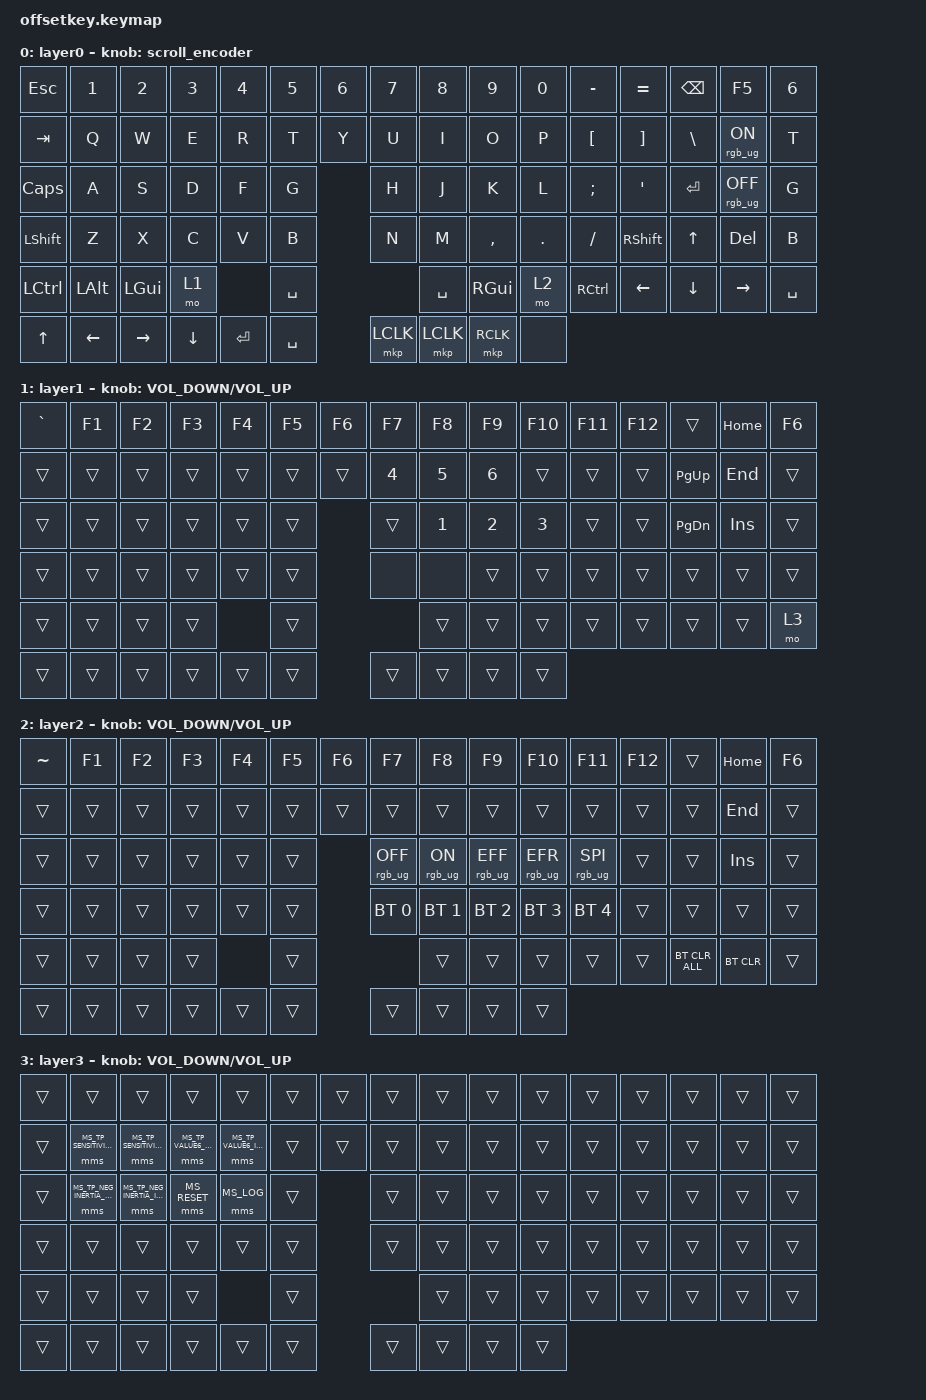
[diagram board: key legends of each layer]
#define BASE 0
#define LOWER 1
#define MOUSE_KEYS 2
#define MOUSE_TP 3
#define MOUSE_TP_SET 4

#include <zephyr/dt-bindings/input/input-event-codes.h>
#include <behaviors/toggle_io.dtsi>
#include <behaviors/on_io.dtsi>
#include <behaviors/off_io.dtsi>
#include <input/processors.dtsi>
#include <behaviors.dtsi>
#include <dt-bindings/zmk/bt.h>
#include <dt-bindings/zmk/keys.h>
#include <dt-bindings/zmk/pointing.h>
#include <dt-bindings/zmk/rgb.h>
#include <dt-bindings/zmk/mouse.h>
#include <dt-bindings/zmk/mouse_settings.h>
#include <behaviors/mouse_keys.dtsi>
#include <behaviors/mouse_setting.dtsi>

#define U_MSS_TP_S_I  &mms MS_TP_SENSITIVITY_INCR
#define U_MSS_TP_S_D  &mms MS_TP_SENSITIVITY_DECR
#define U_MSS_TP_V6_I &mms MS_TP_VALUE6_INCR
#define U_MSS_TP_V6_D &mms MS_TP_VALUE6_DECR
#define U_MSS_TP_NI_I &mms MS_TP_NEG_INERTIA_INCR
#define U_MSS_TP_NI_D &mms MS_TP_NEG_INERTIA_DECR
#define U_MSS_RESET   &mms MS_RESET
#define U_MSS_LOG     &mms MS_LOG

#define ZMK_POINTING_DEFAULT_MOVE_VAL 1200  // 600
#define ZMK_POINTING_DEFAULT_SCRL_VAL 30

&mmv_input_listener { input-processors = <&zip_xy_scaler 2 1>; };

&msc_input_listener { input-processors = <&zip_scroll_scaler 4 1>; };

&msc {
    acceleration-exponent = <0>;      // 0
    time-to-max-speed-ms = <100>;       // 300
    delay-ms = <0>;                   // 0
};

&mmv {
    time-to-max-speed-ms = <120>;
    acceleration-exponent = <0>;
    trigger-period-ms = <16>;
};

/ {
    scroll_encoder: scroll_encoder {
        compatible = "zmk,behavior-sensor-rotate";
        #sensor-binding-cells = <0>;
        bindings = <&msc SCRL_DOWN>, <&msc SCRL_UP>;

        tap-ms = <100>;
    };

    behaviors {
        ltq: ltq {
            compatible = "zmk,behavior-hold-tap";
            label = "LTQ";
            bindings = <&mo>, <&kp>;

            #binding-cells = <2>;
            tapping-term-ms = <200>;
            quick-tap-ms = <180>;
        };
    };

    combos {
        compatible = "zmk,combos";

        flash {
            bindings = <&bootloader>;
            key-positions = <0 11>;
        };
    };

    keymap {
        compatible = "zmk,keymap";

        BASE {
            bindings = <
&kp ESC       &kp N1          &kp N2           &kp N3          &kp N4     &kp N5     &kp N6      &kp N7     &kp N8     &kp N9         &kp N0   &kp MINUS  &kp EQUAL  &kp BSPC      &kp F5                           &kp NUMBER_6
&kp TAB       &kp Q           &kp W            &kp E           &kp R      &kp T                  &kp Y      &kp U      &kp I          &kp O    &kp P      &kp LBKT   &kp RBKT      &kp BSLH         &rgb_ug RGB_ON  &kp T
&kp CAPS      &kp A           &kp S            &kp D           &kp F      &kp G                  &kp H      &kp J      &kp K          &kp L    &kp SEMI   &kp APOS   &kp ENTER     &rgb_ug RGB_OFF                  &kp G
&kp LSHFT     &kp Z           &kp X            &kp C           &kp V      &kp B                  &kp N      &kp M      &kp COMMA      &kp DOT  &kp FSLH   &kp RSHFT  &kp UP_ARROW  &kp DELETE                       &kp B
&kp LCTRL     &kp LEFT_ALT    &kp LEFT_GUI     &mo 1                      &kp SPACE                         &kp SPACE  &kp RIGHT_GUI  &mo 2    &kp RCTRL  &kp LEFT   &kp DOWN      &kp RIGHT                        &kp SPACE
&kp UP_ARROW  &kp LEFT_ARROW  &kp RIGHT_ARROW  &kp DOWN_ARROW  &kp ENTER  &kp SPACE              &mkp LCLK  &mkp LCLK  &mkp RCLK      &none
            >;

            label = "layer0";
            sensor-bindings = <&scroll_encoder>;
        };

        layer_1 {
            bindings = <
&kp GRAVE  &kp F1  &kp F2  &kp F3  &kp F4  &kp F5  &kp F6      &kp F7  &kp F8        &kp F9        &kp F10       &kp F11  &kp F12  &trans     &kp HOME             &kp F6
&trans     &trans  &trans  &trans  &trans  &trans              &trans  &kp NUMBER_4  &kp NUMBER_5  &kp NUMBER_6  &trans   &trans   &trans     &kp PG_UP   &kp END  &trans
&trans     &trans  &trans  &trans  &trans  &trans              &trans  &kp NUMBER_1  &kp NUMBER_2  &kp NUMBER_3  &trans   &trans   &kp PG_DN  &kp INSERT           &trans
&trans     &trans  &trans  &trans  &trans  &trans              &none   &none         &trans        &trans        &trans   &trans   &trans     &trans               &trans
&trans     &trans  &trans  &trans          &trans                      &trans        &trans        &trans        &trans   &trans   &trans     &trans               &mo 3
&trans     &trans  &trans  &trans  &trans  &trans              &trans  &trans        &trans        &trans
            >;

            label = "layer1";
            sensor-bindings = <&inc_dec_kp C_VOLUME_DOWN C_VOLUME_UP>;
        };

        layer_2 {
            bindings = <
&kp TILDE  &kp F1  &kp F2  &kp F3  &kp F4  &kp F5  &kp F6      &kp F7           &kp F8          &kp F9           &kp F10          &kp F11          &kp F12  &trans          &kp HOME             &kp F6
&trans     &trans  &trans  &trans  &trans  &trans              &trans           &trans          &trans           &trans           &trans           &trans   &trans          &trans      &kp END  &trans
&trans     &trans  &trans  &trans  &trans  &trans              &rgb_ug RGB_OFF  &rgb_ug RGB_ON  &rgb_ug RGB_EFF  &rgb_ug RGB_EFR  &rgb_ug RGB_SPI  &trans   &trans          &kp INSERT           &trans
&trans     &trans  &trans  &trans  &trans  &trans              &bt BT_SEL 0     &bt BT_SEL 1    &bt BT_SEL 2     &bt BT_SEL 3     &bt BT_SEL 4     &trans   &trans          &trans               &trans
&trans     &trans  &trans  &trans          &trans                               &trans          &trans           &trans           &trans           &trans   &bt BT_CLR_ALL  &bt BT_CLR           &trans
&trans     &trans  &trans  &trans  &trans  &trans              &trans           &trans          &trans           &trans
            >;

            label = "layer2";
            sensor-bindings = <&inc_dec_kp C_VOLUME_DOWN C_VOLUME_UP>;
        };

                layer_3 {
            bindings = <
&trans  &trans         &trans         &trans         &trans         &trans  &trans  &trans  &trans  &trans  &trans  &trans  &trans  &trans  &trans  &trans
&trans  U_MSS_TP_S_D   U_MSS_TP_S_I   U_MSS_TP_V6_D  U_MSS_TP_V6_I  &trans  &trans  &trans  &trans  &trans  &trans  &trans  &trans  &trans  &trans  &trans
&trans  U_MSS_TP_NI_D  U_MSS_TP_NI_I  U_MSS_RESET    U_MSS_LOG       &trans  &trans  &trans  &trans  &trans  &trans  &trans  &trans  &trans  &trans
&trans  &trans         &trans         &trans         &trans         &trans  &trans  &trans  &trans  &trans  &trans  &trans  &trans  &trans  &trans
&trans  &trans         &trans         &trans                  &trans                  &trans  &trans  &trans  &trans  &trans  &trans  &trans  &trans
&trans  &trans         &trans         &trans         &trans         &trans  &trans  &trans  &trans  &trans
            >;

            label = "layer3";
            sensor-bindings = <&inc_dec_kp C_VOLUME_DOWN C_VOLUME_UP>;
        };
    };
};
